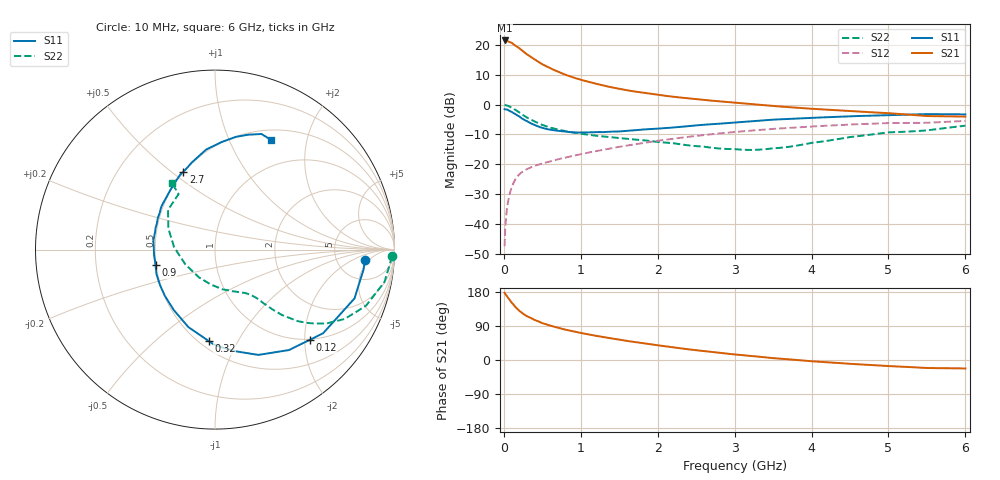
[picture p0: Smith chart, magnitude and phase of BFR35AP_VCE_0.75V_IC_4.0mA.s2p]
! Infineon Technologies  Discrete & RF Semiconductors
! BFR35AP
! VCE = 0.75 V,  IC =  4.0 mA
! Common Emitter S-Parameters:  Nov 2015
# GHz  S  MA  R  50
!  f  S11  S21  S12  S22
! GHz  MAG  ANG  MAG  ANG  MAG  ANG  MAG  ANG
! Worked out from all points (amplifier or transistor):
!   210 points, 10 MHz to 6 GHz, reference 50 ohm
!   highest |S21| = 21.6 dB at 10 MHz (marker M1)
!   |S21| within 3 dB of that: start of sweep to 219.4 MHz
!   unconditionally stable (mu >= 1): 769.7 MHz to end of sweep
!   at 185 MHz: K = 0.35, MSG = 21.5 dB, |S12| = -23.9 dB
!   at 1.52 GHz: K = 1.20, MAG = 7.0 dB, |S12| = -14.1 dB
!   at 6 GHz: K = 1.06, MAG = -0.8 dB, |S12| = -5.5 dB
!   S11 on the Smith chart (normalised r, x): 10 MHz: 10, -4; 120 MHz: 0.98, -2.11; 320 MHz: 0.56, -0.76; 900 MHz: 0.50, -0.09; 2.7 GHz: 0.50, +0.55; 6 GHz: 0.62, +1.44
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0.01  0.8385 -3.9  11.97 177.3  0.0042 87.3  0.9869 -2.2
0.025  0.8305 -9.7  11.73 172.5  0.0111 83.3  0.9753 -5.4
0.05  0.8234 -19.3  11.64 165.4  0.0217 80.0  0.9613 -10.8
0.1  0.7617 -37.7  10.98 151.9  0.0407 70.8  0.8975 -20.4
0.12  0.7285 -43.7  10.46 147.4  0.0467 66.9  0.8647 -23.3
0.15  0.6952 -53.6  9.805 139.7  0.056 62.6  0.8202 -28.1
0.2  0.6346 -67.6  8.869 130.0  0.0673 57.7  0.7429 -33.7
0.26  0.5613 -82.4  7.709 120.7  0.0771 53.2  0.6546 -38.6
0.3  0.5284 -90.8  7 115.5  0.0826 51.4  0.6081 -40.9
0.32  0.5102 -94.0  6.73 113.8  0.0849 50.7  0.5907 -41.5
0.4  0.4564 -109.0  5.721 105.6  0.094 48.3  0.5221 -44.3
0.5  0.4078 -124.2  4.763 97.2  0.1028 47.4  0.4564 -46.3
0.7  0.3651 -146.8  3.589 85.1  0.1206 47.4  0.3826 -48.4
0.9  0.3418 -165.7  2.863 75.6  0.1385 47.6  0.3409 -50.2
1.02  0.3406 -176.2  2.578 70.7  0.1488 48.0  0.3226 -51.5
1.4  0.3526 160.1  1.955 56.9  0.1858 47.9  0.2834 -57.8
2.02  0.3972 133.1  1.453 38.3  0.2492 44.4  0.2353 -73.3
2.7  0.4688 112.1  1.167 21.4  0.3185 37.8  0.1892 -101.9
3.1  0.5114 103.0  1.05 12.8  0.3563 32.7  0.1749 -126.6
4.1  0.6076 85.0  0.838 -4.6  0.4369 19.9  0.2364 171.8
5.1  0.6717 72.6  0.704 -16.9  0.491 6.6  0.3457 136.3
6  0.6865 63.2  0.63 -22.3  0.5328 -2.7  0.4428 122.9
